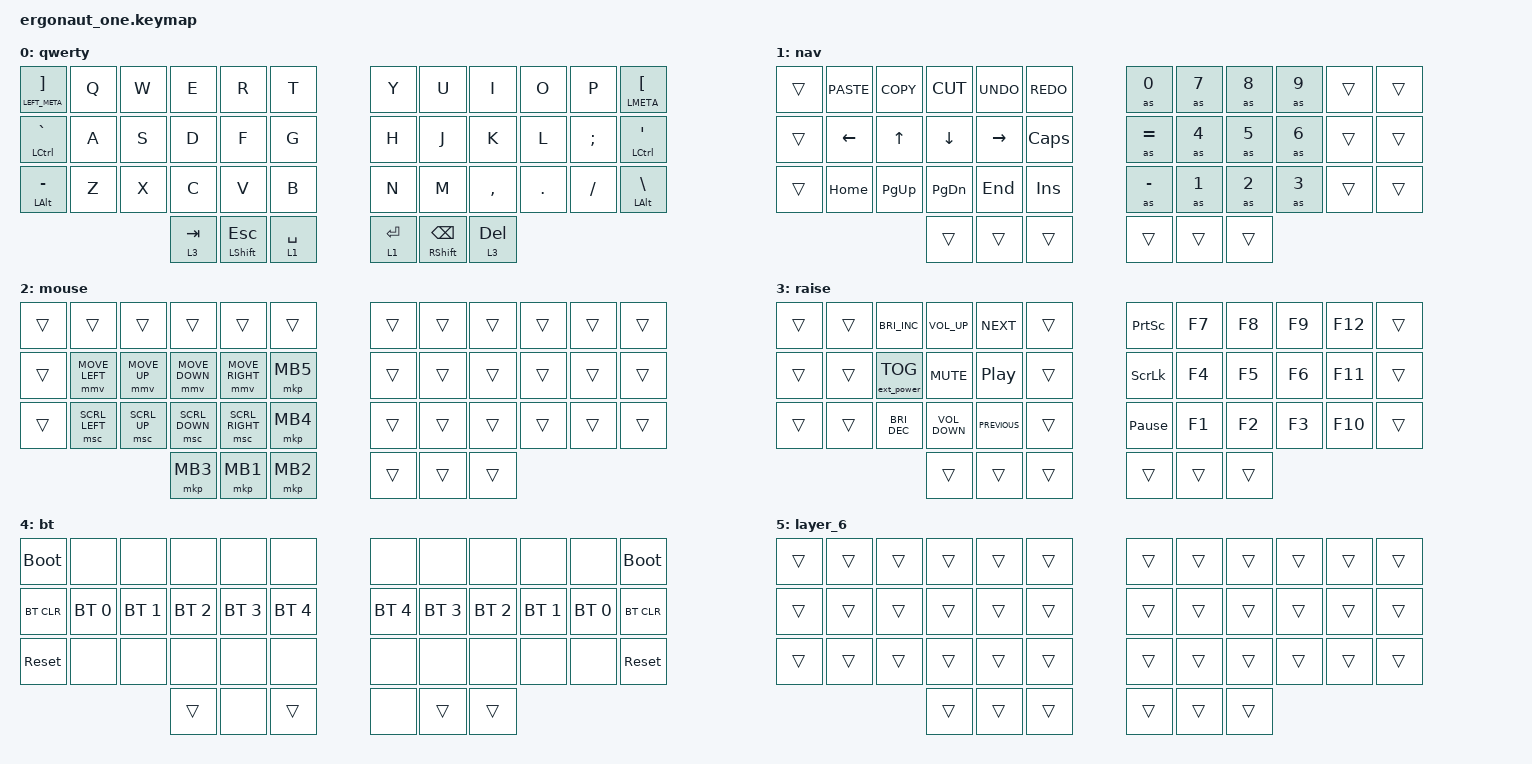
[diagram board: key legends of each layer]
#include <behaviors.dtsi>
#include <dt-bindings/zmk/bt.h>
#include <dt-bindings/zmk/ext_power.h>
#include <dt-bindings/zmk/keys.h>
#include <dt-bindings/zmk/pointing.h>

#define DEF 0
#define LWR 1
#define RSE 2
#define ADJ 3

&lt { quick-tap-ms = <200>; };

&mt {
    quick-tap-ms = <100>;
    flavor = "balanced";
    tapping-term-ms = <170>;
};

/ {
    behaviors {
        as_ht: autoshift_hold_tap {
            compatible = "zmk,behavior-hold-tap";
            label = "AUTOSHIFT_HOLD_TAP";
            #binding-cells = <2>;
            tapping-term-ms = <200>;
            bindings = <&shifted>, <&kp>;
        };
    };

    conditional_layers {
        compatible = "zmk,conditional-layers";

        tri-layer {
            if-layers = <3 1>;
            then-layer = <4>;
        };
    };

    combos {
        compatible = "zmk,combos";

        tg_qwerty {
            bindings = <&change_lang>;
            key-positions = <25 26 27>;
        };

        copy {
            bindings = <&kp LG(C)>;
            key-positions = <27 26>;
        };

        paste {
            bindings = <&kp LG(V)>;
            key-positions = <27 28>;
        };

        cut {
            bindings = <&kp LG(X)>;
            key-positions = <26 28>;
        };

        undo {
            bindings = <&kp LG(Z)>;
            key-positions = <25 26>;
        };

        caps_word {
            bindings = <&caps_word>;
            key-positions = <4 5>;
        };

        mouse_toggle {
            bindings = <&tog 2>;
            key-positions = <4 1>;
        };
    };

    macros {
        change_lang: change_lang {
            compatible = "zmk,behavior-macro";
            #binding-cells = <0>;
            bindings = <&kp LC(SPACE)>;
            label = "CHANGE_LANG";
        };

        shifted: macro_shifted_kp {
            #binding-cells = <1>;
            label = "MACRO_SHIFTED_KP";
            compatible = "zmk,behavior-macro-one-param";
            bindings =
                <&macro_press>,
                <&kp LSHFT &macro_param_1to1>,
                <&macro_tap>,
                <&kp MACRO_PLACEHOLDER>,
                <&macro_release>,
                <&kp LSHFT>;
        };

        as: autoshift {
            compatible = "zmk,behavior-macro-one-param";
            #binding-cells = <1>;
            label = "AUTOSHIFT_KP";
            bindings =
                <&macro_press>,
                <&macro_param_1to1 &macro_param_1to2 &as_ht MACRO_PLACEHOLDER MACRO_PLACEHOLDER>,
                <&macro_pause_for_release>,
                <&macro_release>,
                <&macro_param_1to1 &macro_param_1to2 &as_ht MACRO_PLACEHOLDER MACRO_PLACEHOLDER>;
        };
    };

    keymap {
        compatible = "zmk,keymap";

        qwerty {
            bindings = <
&mt LEFT_META RIGHT_BRACKET  &kp Q  &kp W  &kp E      &kp R               &kp T        &kp Y        &kp U                      &kp I         &kp O       &kp P     &mt LMETA LEFT_BRACKET
&mt LCTRL GRAVE              &kp A  &kp S  &kp D      &kp F               &kp G        &kp H        &kp J                      &kp K         &kp L       &kp SEMI  &mt LCTRL SQT
&mt LEFT_ALT MINUS           &kp Z  &kp X  &kp C      &kp V               &kp B        &kp N        &kp M                      &kp COMMA     &kp PERIOD  &kp FSLH  &mt LEFT_ALT BACKSLASH
                                           &lt 3 TAB  &mt LEFT_SHIFT ESC  &lt 1 SPACE  &lt 1 ENTER  &mt RIGHT_SHIFT BACKSPACE  &lt 3 DELETE
            >;
        };

        nav {
            bindings = <
&trans  &kp K_PASTE  &kp K_COPY   &kp K_CUT      &kp K_UNDO  &kp K_REDO  &as N0     &as N7        &as N8        &as N9        &trans  &trans
&trans  &kp LEFT     &kp UP       &kp DOWN       &kp RIGHT   &kp CLCK    &as EQUAL  &as NUMBER_4  &as NUMBER_5  &as NUMBER_6  &trans  &trans
&trans  &kp HOME     &kp PAGE_UP  &kp PAGE_DOWN  &kp END     &kp INS     &as MINUS  &as NUMBER_1  &as NUMBER_2  &as NUMBER_3  &trans  &trans
                                  &trans         &trans      &trans      &trans     &trans        &trans
            >;
        };

        mouse {
            bindings = <
&trans  &trans          &trans        &trans          &trans           &trans    &trans  &trans  &trans  &trans  &trans  &trans
&trans  &mmv MOVE_LEFT  &mmv MOVE_UP  &mmv MOVE_DOWN  &mmv MOVE_RIGHT  &mkp MB5  &trans  &trans  &trans  &trans  &trans  &trans
&trans  &msc SCRL_LEFT  &msc SCRL_UP  &msc SCRL_DOWN  &msc SCRL_RIGHT  &mkp MB4  &trans  &trans  &trans  &trans  &trans  &trans
                                      &mkp MB3        &mkp MB1         &mkp MB2  &trans  &trans  &trans
            >;
        };

        raise {
            bindings = <
&trans  &trans  &kp C_BRIGHTNESS_INC  &kp C_VOLUME_UP    &kp C_NEXT      &trans  &kp PRINTSCREEN  &kp F7  &kp F8  &kp F9  &kp F12  &trans
&trans  &trans  &ext_power EP_TOG     &kp C_MUTE         &kp C_PP        &trans  &kp SCROLLLOCK   &kp F4  &kp F5  &kp F6  &kp F11  &trans
&trans  &trans  &kp C_BRIGHTNESS_DEC  &kp C_VOLUME_DOWN  &kp C_PREVIOUS  &trans  &kp PAUSE_BREAK  &kp F1  &kp F2  &kp F3  &kp F10  &trans
                                      &trans             &trans          &trans  &trans           &trans  &trans
            >;
        };

        bt {
            bindings = <
&bootloader  &none         &none         &none         &none         &none         &none         &none         &none         &none         &none         &bootloader
&bt BT_CLR   &bt BT_SEL 0  &bt BT_SEL 1  &bt BT_SEL 2  &bt BT_SEL 3  &bt BT_SEL 4  &bt BT_SEL 4  &bt BT_SEL 3  &bt BT_SEL 2  &bt BT_SEL 1  &bt BT_SEL 0  &bt BT_CLR
&sys_reset   &none         &none         &none         &none         &none         &none         &none         &none         &none         &none         &sys_reset
                                         &trans        &none         &trans        &none         &trans        &trans
            >;
        };

        layer_6 {
            bindings = <
&trans  &trans  &trans  &trans  &trans  &trans  &trans  &trans  &trans  &trans  &trans  &trans
&trans  &trans  &trans  &trans  &trans  &trans  &trans  &trans  &trans  &trans  &trans  &trans
&trans  &trans  &trans  &trans  &trans  &trans  &trans  &trans  &trans  &trans  &trans  &trans
                        &trans  &trans  &trans  &trans  &trans  &trans
            >;
        };
    };
};
